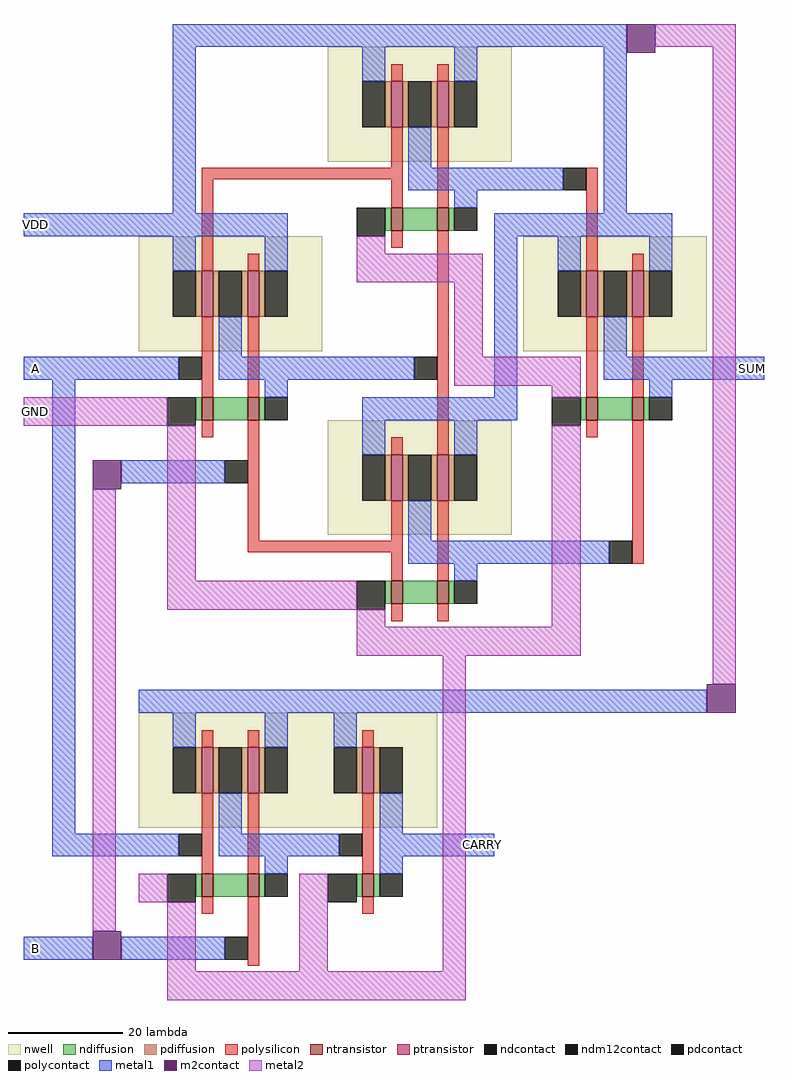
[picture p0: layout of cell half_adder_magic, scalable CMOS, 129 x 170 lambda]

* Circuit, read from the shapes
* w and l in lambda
.subckt half_adder_magic A B CARRY GND SUM VDD
M1 n1 A GND VSUBS nfet w=4 l=2
M2 n2 A GND VSUBS nfet w=4 l=2
M3 and_magic_0/inverter_magic_0/INPUT B n1 VSUBS nfet w=4 l=2
M4 n3 B n2 VSUBS nfet w=4 l=2
M5 CARRY and_magic_0/inverter_magic_0/INPUT GND VSUBS nfet w=4 l=2
M6 n4 B GND VSUBS nfet w=4 l=2
M7 n5 A GND VSUBS nfet w=4 l=2
M8 n6 n3 n4 VSUBS nfet w=4 l=2
M9 n7 n3 n5 VSUBS nfet w=4 l=2
M10 n8 n7 GND VSUBS nfet w=4 l=2
M11 SUM n6 n8 VSUBS nfet w=4 l=2
M12 and_magic_0/inverter_magic_0/INPUT A VDD n9 pfet w=8 l=2
M13 n3 A VDD n10 pfet w=8 l=2
M14 VDD B and_magic_0/inverter_magic_0/INPUT n9 pfet w=8 l=2
M15 VDD B n3 n10 pfet w=8 l=2
M16 CARRY and_magic_0/inverter_magic_0/INPUT VDD n9 pfet w=8 l=2
M17 n6 B VDD n11 pfet w=8 l=2
M18 n7 A VDD n12 pfet w=8 l=2
M19 VDD n3 n6 n11 pfet w=8 l=2
M20 VDD n3 n7 n12 pfet w=8 l=2
M21 SUM n7 VDD n13 pfet w=8 l=2
M22 VDD n6 SUM n13 pfet w=8 l=2
.ends

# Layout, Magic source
magic
tech scmos
<< metal1 >>
rect -20 73 0 77
rect -20 48 3 52
rect 93 48 109 52
rect -15 -31 -11 48
rect -3 30 2 34
rect 51 -10 99 -6
rect -15 -35 3 -31
rect 49 -35 62 -31
rect -20 -53 -8 -49
rect -3 -53 2 -49
<< m2contact >>
rect 85 105 90 110
rect -8 29 -3 34
rect 99 -10 104 -5
rect -8 -53 -3 -48
<< metal2 >>
rect 90 106 104 110
rect -20 40 0 45
rect -8 -48 -4 29
rect 53 -55 57 1
rect 100 -5 104 106
rect 33 -60 57 -55
use xor_magic  xor_magic_0
transform 1 0 0 0 1 53
box 0 -53 99 57
use and_magic  and_magic_0
transform 1 0 0 0 1 -49
box 0 -11 52 43
<< labels >>
rlabel metal1 -20 73 -16 77 3 VDD
rlabel metal1 -20 48 -16 52 3 A
rlabel metal2 -20 40 -16 45 3 GND
rlabel metal1 105 48 109 52 7 SUM
rlabel metal1 58 -35 62 -31 1 CARRY
rlabel metal1 -20 -53 -16 -49 3 B
<< end >>

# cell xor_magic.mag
magic
tech scmos
<< nwell >>
rect 33 33 65 53
rect 0 0 32 20
rect 67 0 99 20
rect 33 -32 65 -12
<< ntransistor >>
rect 44 21 46 25
rect 52 21 54 25
rect 11 -12 13 -8
rect 19 -12 21 -8
rect 78 -12 80 -8
rect 86 -12 88 -8
rect 44 -44 46 -40
rect 52 -44 54 -40
<< ptransistor >>
rect 44 39 46 47
rect 52 39 54 47
rect 11 6 13 14
rect 19 6 21 14
rect 78 6 80 14
rect 86 6 88 14
rect 44 -26 46 -18
rect 52 -26 54 -18
<< ndiffusion >>
rect 43 21 44 25
rect 46 21 52 25
rect 54 21 55 25
rect 10 -12 11 -8
rect 13 -12 19 -8
rect 21 -12 22 -8
rect 77 -12 78 -8
rect 80 -12 86 -8
rect 88 -12 89 -8
rect 43 -44 44 -40
rect 46 -44 52 -40
rect 54 -44 55 -40
<< pdiffusion >>
rect 43 39 44 47
rect 46 39 47 47
rect 51 39 52 47
rect 54 39 55 47
rect 10 6 11 14
rect 13 6 14 14
rect 18 6 19 14
rect 21 6 22 14
rect 77 6 78 14
rect 80 6 81 14
rect 85 6 86 14
rect 88 6 89 14
rect 43 -26 44 -18
rect 46 -26 47 -18
rect 51 -26 52 -18
rect 54 -26 55 -18
<< ndcontact >>
rect 55 21 59 25
rect 22 -12 26 -8
rect 89 -12 93 -8
rect 55 -44 59 -40
<< pdcontact >>
rect 39 39 43 47
rect 47 39 51 47
rect 55 39 59 47
rect 6 6 10 14
rect 14 6 18 14
rect 22 6 26 14
rect 73 6 77 14
rect 81 6 85 14
rect 89 6 93 14
rect 39 -26 43 -18
rect 47 -26 51 -18
rect 55 -26 59 -18
<< polysilicon >>
rect 44 47 46 50
rect 52 47 54 50
rect 44 32 46 39
rect 11 30 46 32
rect 11 14 13 30
rect 44 25 46 30
rect 52 25 54 39
rect 44 18 46 21
rect 19 14 21 17
rect 11 -8 13 6
rect 19 -8 21 6
rect 11 -15 13 -12
rect 19 -33 21 -12
rect 44 -18 46 -15
rect 52 -18 54 21
rect 78 14 80 32
rect 86 14 88 17
rect 78 -8 80 6
rect 86 -8 88 6
rect 78 -15 80 -12
rect 44 -33 46 -26
rect 19 -35 46 -33
rect 44 -40 46 -35
rect 52 -40 54 -26
rect 86 -37 88 -12
rect 44 -47 46 -44
rect 52 -47 54 -44
<< polycontact >>
rect 74 28 78 32
rect 7 -5 11 -1
rect 48 -5 52 -1
rect 15 -23 19 -19
rect 82 -37 86 -33
<< metal1 >>
rect 6 53 85 57
rect 6 24 10 53
rect 39 47 43 53
rect 55 47 59 53
rect 47 32 51 39
rect 47 28 74 32
rect 55 25 59 28
rect 0 20 26 24
rect 81 24 85 53
rect 62 20 93 24
rect 6 14 10 20
rect 22 14 26 20
rect 14 -1 18 6
rect 0 -5 7 -1
rect 14 -5 48 -1
rect 22 -8 26 -5
rect 62 -8 66 20
rect 73 14 77 20
rect 89 14 93 20
rect 81 -1 85 6
rect 81 -5 99 -1
rect 89 -8 93 -5
rect 39 -12 66 -8
rect 39 -18 43 -12
rect 55 -18 59 -12
rect 0 -23 15 -19
rect 47 -33 51 -26
rect 47 -37 82 -33
rect 55 -40 59 -37
<< ndm12contact >>
rect 38 20 43 25
rect 5 -13 10 -8
rect 72 -13 77 -8
rect 38 -45 43 -40
<< metal2 >>
rect 38 17 43 20
rect 38 12 60 17
rect 55 -1 60 12
rect 55 -6 77 -1
rect 72 -8 77 -6
rect 0 -13 5 -8
rect 5 -40 10 -13
rect 5 -45 38 -40
rect 38 -48 43 -45
rect 72 -48 77 -13
rect 38 -53 77 -48
<< labels >>
rlabel metal1 0 -5 7 -1 3 A
rlabel metal1 0 20 6 24 3 VDD
rlabel metal2 0 -13 5 -8 3 GND
rlabel metal1 0 -23 5 -19 3 B
rlabel metal1 93 -5 99 -1 7 OUTPUT
<< end >>

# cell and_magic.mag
magic
tech scmos
<< metal2 >>
rect 5 -6 10 6
rect 28 -6 33 6
rect 5 -11 33 -6
use inverter_magic  inverter_magic_0
transform 1 0 28 0 1 19
box 0 -15 24 24
use nand_magic  nand_magic_0
transform 1 0 0 0 1 19
box 0 -24 32 24
<< end >>

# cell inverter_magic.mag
magic
tech scmos
<< nwell >>
rect 0 0 24 20
<< ntransistor >>
rect 11 -12 13 -8
<< ptransistor >>
rect 11 6 13 14
<< ndiffusion >>
rect 10 -12 11 -8
rect 13 -12 14 -8
<< pdiffusion >>
rect 10 6 11 14
rect 13 6 14 14
<< ndcontact >>
rect 14 -12 18 -8
<< pdcontact >>
rect 6 6 10 14
rect 14 6 18 14
<< polysilicon >>
rect 11 14 13 17
rect 11 -8 13 6
rect 11 -15 13 -12
<< polycontact >>
rect 7 -5 11 -1
<< metal1 >>
rect 0 20 24 24
rect 6 14 10 20
rect 14 -1 18 6
rect 0 -5 7 -1
rect 14 -5 24 -1
rect 14 -8 18 -5
<< ndm12contact >>
rect 5 -13 10 -8
<< metal2 >>
rect 0 -13 5 -8
<< labels >>
rlabel metal1 0 20 24 24 5 VDD
rlabel metal2 0 -13 5 -8 2 GND
rlabel metal1 0 -5 7 -1 3 INPUT
rlabel metal1 18 -5 24 -1 1 OUTPUT
<< end >>

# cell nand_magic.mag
magic
tech scmos
<< nwell >>
rect 0 0 32 20
<< ntransistor >>
rect 11 -12 13 -8
rect 19 -12 21 -8
<< ptransistor >>
rect 11 6 13 14
rect 19 6 21 14
<< ndiffusion >>
rect 10 -12 11 -8
rect 13 -12 19 -8
rect 21 -12 22 -8
<< pdiffusion >>
rect 10 6 11 14
rect 13 6 14 14
rect 18 6 19 14
rect 21 6 22 14
<< ndcontact >>
rect 22 -12 26 -8
<< pdcontact >>
rect 6 6 10 14
rect 14 6 18 14
rect 22 6 26 14
<< polysilicon >>
rect 11 14 13 17
rect 19 14 21 17
rect 11 -8 13 6
rect 19 -8 21 6
rect 11 -15 13 -12
rect 19 -24 21 -12
<< polycontact >>
rect 7 -5 11 -1
rect 15 -23 19 -19
<< metal1 >>
rect 0 20 32 24
rect 6 14 10 20
rect 22 14 26 20
rect 14 -1 18 6
rect 0 -5 7 -1
rect 14 -5 32 -1
rect 22 -8 26 -5
rect 0 -23 15 -19
<< ndm12contact >>
rect 5 -13 10 -8
<< metal2 >>
rect 0 -13 5 -8
<< labels >>
rlabel metal1 0 20 32 24 5 VDD
rlabel metal1 28 -5 32 -1 7 OUTPUT
rlabel metal1 0 -23 15 -19 1 B
rlabel metal2 0 -13 5 -8 3 GND
rlabel metal1 0 -5 7 -1 3 A
<< end >>
